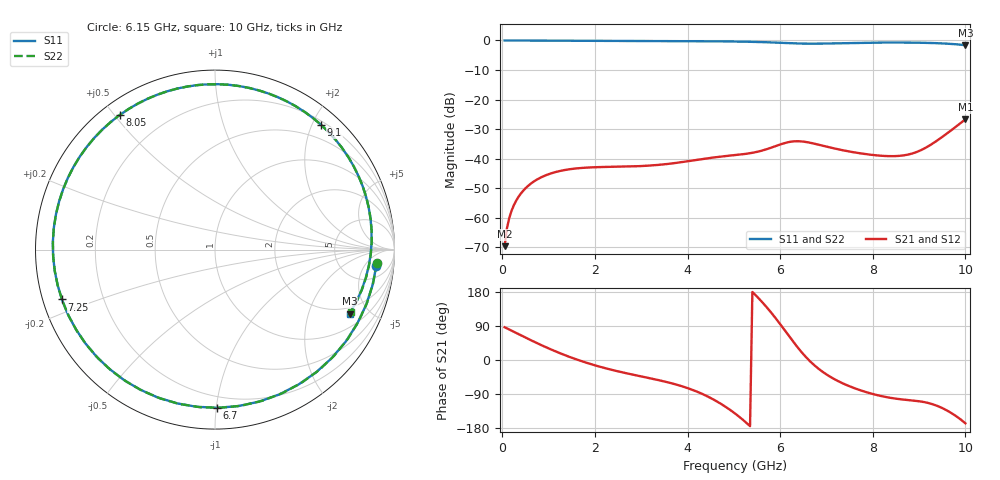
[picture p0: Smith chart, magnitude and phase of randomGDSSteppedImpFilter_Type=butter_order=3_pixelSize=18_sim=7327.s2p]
! freq	dB(S11)	phase(S11)	dB(S12)	phase(S12)
!  dB(S21)	phase(S21)	dB(S22)	phase(S22)
!S-par simulation data
#  GHz  S  DB  R 50
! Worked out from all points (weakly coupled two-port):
!   200 points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, 50 MHz to 10 GHz, reference 50 ohm
!   highest |S21| = -26.64 dB at 10 GHz (marker M1); lowest = -69.6 dB at 50 MHz (marker M2)
!   lowest |S11| = -1.6 dB at 10 GHz (marker M3), VSWR 10.77, Z = 82 - j188 ohm
!   |S11| at or under -10 dB: nowhere
!   |S22| runs from -1.6 to 0.0 dB; largest |S21 - S12| = 0
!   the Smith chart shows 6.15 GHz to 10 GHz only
!   S11 on the Smith chart (normalised r, x): 6.15 GHz: 10, -10; 6.7 GHz: 0.13, -1.00; 7.25 GHz: 0.06, -0.16; 8.05 GHz: 0.05, +0.52; 9.1 GHz: 0.26, +2.14; 10 GHz: 1.64, -3.76
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0.05  -0.00 -3.2  -69.59 86.4  -69.59 86.4  -0.00 -3.2
0.1  -0.01 -6.3  -63.58 83.6  -63.58 83.6  -0.01 -6.3
0.2  -0.02 -12.5  -57.61 77.5  -57.61 77.5  -0.02 -12.6
0.5  -0.04 -31.0  -50.03 59.2  -50.03 59.2  -0.05 -31.0
1.1  -0.08 -66.1  -44.74 25.3  -44.74 25.3  -0.08 -66.1
1.75  -0.11 -100.4  -43.08 -4.6  -43.08 -4.6  -0.11 -100.4
2.6  -0.15 -140.0  -42.68 -32.8  -42.68 -32.8  -0.15 -140.0
3.4  -0.18 -174.6  -42.05 -53.8  -42.05 -53.8  -0.18 -174.6
4.25  -0.24 147.1  -40.28 -85.9  -40.28 -85.9  -0.24 147.1
5.05  -0.37 102.3  -38.75 -143.5  -38.75 -143.5  -0.36 102.5
5.65  -0.57 53.8  -37.07 147.6  -37.07 147.6  -0.57 54.4
6.15  -0.88 -5.8  -34.50 70.0  -34.50 70.0  -0.87 -4.8
6.45  -1.05 -50.6  -34.14 22.5  -34.14 22.5  -1.04 -49.4
6.7  -1.10 -89.3  -34.78 -9.7  -34.78 -9.7  -1.09 -88.0
7  -1.03 -131.7  -35.91 -38.1  -35.91 -38.1  -1.03 -130.7
7.25  -0.94 -162.0  -36.81 -55.6  -36.81 -55.6  -0.95 -161.1
7.6  -0.83 162.7  -37.86 -74.2  -37.86 -74.2  -0.83 163.4
8.05  -0.74 125.3  -38.82 -91.3  -38.82 -91.3  -0.74 125.7
8.35  -0.71 103.0  -39.13 -99.2  -39.13 -99.2  -0.71 103.3
9.1  -0.80 49.5  -36.66 -110.8  -36.66 -110.8  -0.79 49.8
9.6  -1.08 11.0  -31.49 -133.1  -31.49 -133.1  -1.07 11.4
10  -1.62 -25.4  -26.64 -167.0  -26.64 -167.0  -1.59 -24.6
